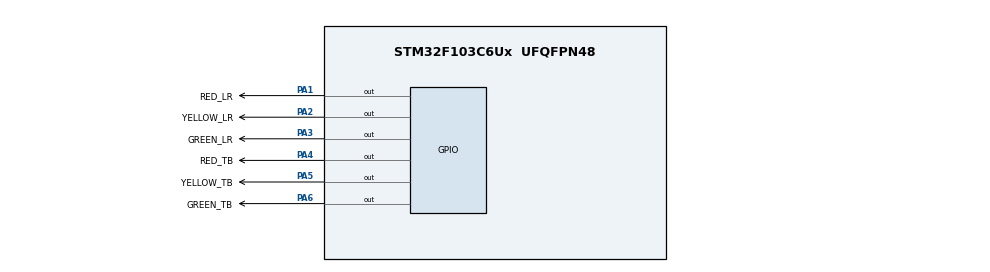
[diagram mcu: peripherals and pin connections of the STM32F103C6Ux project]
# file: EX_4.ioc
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Mcu.Family=STM32F1
Mcu.Name=STM32F103C6Ux
Mcu.Package=UFQFPN48
NVIC.PriorityGroup=NVIC_PRIORITYGROUP_4
PA1.GPIO_Label=RED_LR
PA1.Signal=GPIO_Output
PA2.GPIO_Label=YELLOW_LR
PA2.Signal=GPIO_Output
PA3.GPIO_Label=GREEN_LR
PA3.Signal=GPIO_Output
PA4.GPIO_Label=RED_TB
PA4.Signal=GPIO_Output
PA5.GPIO_Label=YELLOW_TB
PA5.Signal=GPIO_Output
PA6.GPIO_Label=GREEN_TB
PA6.Signal=GPIO_Output
ProjectManager.HeapSize=0x200
ProjectManager.StackSize=0x400
ProjectManager.TargetToolchain=STM32CubeIDE
RCC.APB1Freq_Value=8000000
RCC.APB2Freq_Value=8000000
VP_SYS_VS_ND.Mode=No_Debug
board=custom

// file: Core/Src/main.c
/* USER CODE BEGIN Header */
/**
  ******************************************************************************
  * @file           : main.c
  * @brief          : Main program body
  ******************************************************************************
  * @attention
  *
  * <h2><center>&copy; Copyright (c) 2022 STMicroelectronics.
  * All rights reserved.</center></h2>
  *
  * This software component is licensed by ST under BSD 3-Clause license,
  * the "License"; You may not use this file except in compliance with the
  * License. You may obtain a copy of the License at:
  *                        opensource.org/licenses/BSD-3-Clause
  *
  ******************************************************************************
  */
/* USER CODE END Header */
#include "main.h"

void SystemClock_Config(void);
static void MX_GPIO_Init(void);

int main(void)
{

  /* MCU Configuration--------------------------------------------------------*/

  /* Reset of all peripherals, Initializes the Flash interface and the Systick. */
  HAL_Init();

  /* Configure the system clock */
  SystemClock_Config();

  /* Initialize all configured peripherals */
  MX_GPIO_Init();

  /* Infinite loop */
  /* USER CODE BEGIN WHILE */
  void display7SEG(int num){
  	  char led7seg[10] = {0xC0 , 0xF9 , 0xA4 , 0xB0 , 0x99 , 0x92 , 0x82 ,
  			  0xF8 , 0x80 , 0x90 };
  	  for (int i= 0; i<7; i++){
  		  HAL_GPIO_WritePin (GPIOB , GPIO_PIN_0 << i, ( led7seg[num]
  		  >> i) & 1);
  	  }
    }
 	 int counter = 0;
  while (1)
  {
	    if(counter>=10)
	   		  counter = 0;
	  switch (counter){
	   case 9: //1RED -2 GREEN
	   HAL_GPIO_WritePin (GPIOA , GPIO_PIN_1 , GPIO_PIN_RESET );
	   HAL_GPIO_WritePin (GPIOA , GPIO_PIN_2 , GPIO_PIN_SET );
	   HAL_GPIO_WritePin (GPIOA , GPIO_PIN_3 , GPIO_PIN_SET );
	   HAL_GPIO_WritePin (GPIOA , GPIO_PIN_4 , GPIO_PIN_SET );
	   HAL_GPIO_WritePin (GPIOA , GPIO_PIN_5 , GPIO_PIN_SET );
	   HAL_GPIO_WritePin (GPIOA , GPIO_PIN_6 , GPIO_PIN_RESET );
	   display7SEG(4);
	   HAL_Delay(1000) ;
	   counter --;
	    break ;

	    case 8:
	    display7SEG(3);
	    HAL_Delay(500) ;
	    counter --;
	    break ;

	    case 7:
	    display7SEG(2);
	    HAL_Delay (1000) ;
	    counter --;
	    break ;

	    case 6: //2YEL
	    HAL_GPIO_WritePin (GPIOA , GPIO_PIN_5 , GPIO_PIN_RESET );
	    HAL_GPIO_WritePin (GPIOA , GPIO_PIN_6 , GPIO_PIN_SET );
	    display7SEG(1);
	    HAL_Delay (1000) ;
	    counter --;
	    break ;

	    case 5:
	    display7SEG(0);
	    HAL_Delay (1000) ;
	    counter --;
	    break ;

	    case 4: //1GREEN -2 RED
	    HAL_GPIO_WritePin (GPIOA , GPIO_PIN_1 , GPIO_PIN_SET );
	    HAL_GPIO_WritePin (GPIOA , GPIO_PIN_3 , GPIO_PIN_RESET );

	    HAL_GPIO_WritePin (GPIOA , GPIO_PIN_4 , GPIO_PIN_RESET );
	    HAL_GPIO_WritePin (GPIOA , GPIO_PIN_5 , GPIO_PIN_SET );
	    display7SEG(2);
	    HAL_Delay(1000) ;
	    counter --;
	    break ;

	    case 3:
	    display7SEG(1);
	    HAL_Delay(1000) ;
	    counter --;
	    break ;

	    case 2:
	    display7SEG(0);
	    HAL_Delay(1000) ;
	    counter --;
	    break ;

	    case 1: //1YEL
	    HAL_GPIO_WritePin (GPIOA , GPIO_PIN_2 , GPIO_PIN_RESET );
	    HAL_GPIO_WritePin (GPIOA , GPIO_PIN_3 , GPIO_PIN_SET );
	    display7SEG(1);
	    HAL_Delay(1000) ;
	     counter --;
	     break ;
	     case 0:
	     display7SEG(0);
	     HAL_Delay(1000) ;
	     counter += 9;
	     break ;
	  }
}

    /* USER CODE END WHILE */

}

void SystemClock_Config(void)
{
  RCC_OscInitTypeDef RCC_OscInitStruct = {0};
  RCC_ClkInitTypeDef RCC_ClkInitStruct = {0};

  /** Initializes the RCC Oscillators according to the specified parameters
  * in the RCC_OscInitTypeDef structure.
  */
  RCC_OscInitStruct.OscillatorType = RCC_OSCILLATORTYPE_HSI;
  RCC_OscInitStruct.HSIState = RCC_HSI_ON;
  RCC_OscInitStruct.HSICalibrationValue = RCC_HSICALIBRATION_DEFAULT;
  RCC_OscInitStruct.PLL.PLLState = RCC_PLL_NONE;
  if (HAL_RCC_OscConfig(&RCC_OscInitStruct) != HAL_OK)
  {
    Error_Handler();
  }
  /** Initializes the CPU, AHB and APB buses clocks
  */
  RCC_ClkInitStruct.ClockType = RCC_CLOCKTYPE_HCLK|RCC_CLOCKTYPE_SYSCLK
                              |RCC_CLOCKTYPE_PCLK1|RCC_CLOCKTYPE_PCLK2;
  RCC_ClkInitStruct.SYSCLKSource = RCC_SYSCLKSOURCE_HSI;
  RCC_ClkInitStruct.AHBCLKDivider = RCC_SYSCLK_DIV1;
  RCC_ClkInitStruct.APB1CLKDivider = RCC_HCLK_DIV1;
  RCC_ClkInitStruct.APB2CLKDivider = RCC_HCLK_DIV1;

  if (HAL_RCC_ClockConfig(&RCC_ClkInitStruct, FLASH_LATENCY_0) != HAL_OK)
  {
    Error_Handler();
  }
}

static void MX_GPIO_Init(void)
{
  GPIO_InitTypeDef GPIO_InitStruct = {0};

  /* GPIO Ports Clock Enable */
  __HAL_RCC_GPIOA_CLK_ENABLE();

  /*Configure GPIO pin Output Level */
  HAL_GPIO_WritePin(GPIOA, RED_LR_Pin|YELLOW_LR_Pin|GREEN_LR_Pin|RED_TB_Pin
                          |YELLOW_TB_Pin|GREEN_TB_Pin, GPIO_PIN_RESET);

  /*Configure GPIO pins : RED_LR_Pin YELLOW_LR_Pin GREEN_LR_Pin RED_TB_Pin
                           YELLOW_TB_Pin GREEN_TB_Pin */
  GPIO_InitStruct.Pin = RED_LR_Pin|YELLOW_LR_Pin|GREEN_LR_Pin|RED_TB_Pin
                          |YELLOW_TB_Pin|GREEN_TB_Pin;
  GPIO_InitStruct.Mode = GPIO_MODE_OUTPUT_PP;
  GPIO_InitStruct.Pull = GPIO_NOPULL;
  GPIO_InitStruct.Speed = GPIO_SPEED_FREQ_LOW;
  HAL_GPIO_Init(GPIOA, &GPIO_InitStruct);

}

void Error_Handler(void)
{
  __disable_irq();
  while (1)
  {
  }
}

/************************ (C) COPYRIGHT STMicroelectronics *****END OF FILE****/
